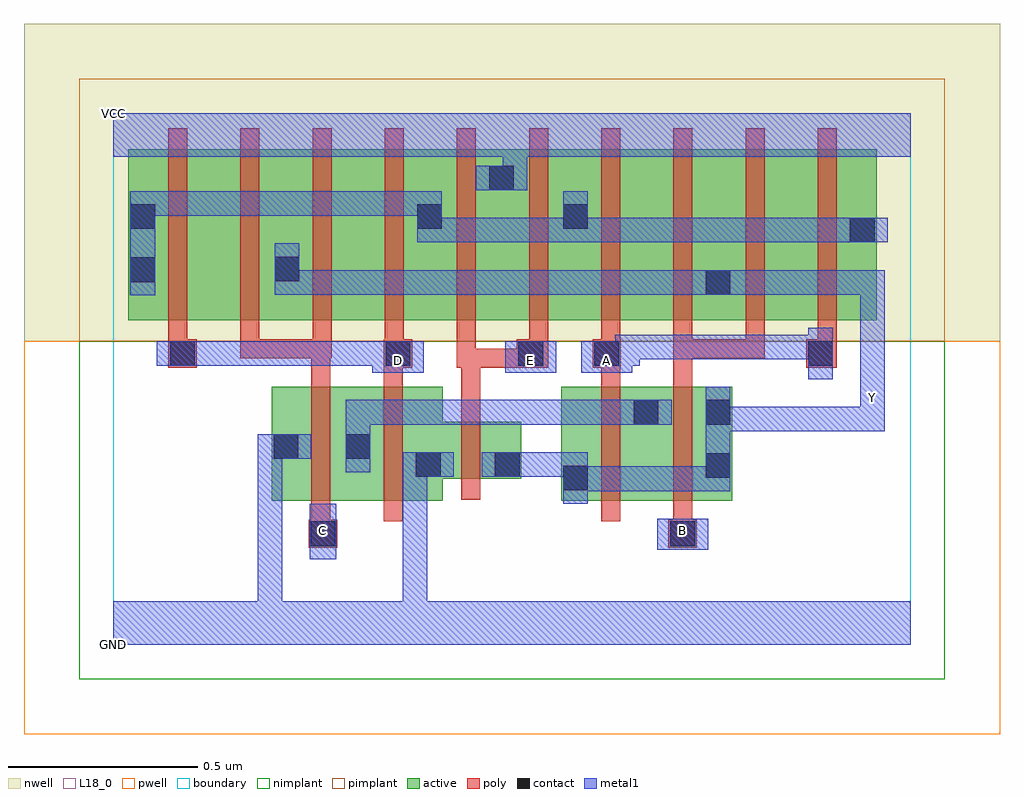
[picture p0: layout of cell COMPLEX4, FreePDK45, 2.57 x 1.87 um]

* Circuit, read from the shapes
.subckt COMPLEX4 A B C D E GND VCC Y
M1 n1 C GND VSUBS nfet w=0.3u l=0.05u
M2 GND D n1 VSUBS nfet w=0.3u l=0.05u
M3 Y E GND VSUBS nfet w=0.15u l=0.05u
M4 n1 A Y VSUBS nfet w=0.3u l=0.05u
M5 Y B n1 VSUBS nfet w=0.3u l=0.05u
M6 n2 D n3 n4 pfet w=0.45u l=0.05u
M7 Y C n2 n4 pfet w=0.45u l=0.05u
M8 n5 C Y n4 pfet w=0.45u l=0.05u
M9 n3 D n5 n4 pfet w=0.45u l=0.05u
M10 VCC E n3 n4 pfet w=0.45u l=0.05u m=2
M11 n6 A n3 n4 pfet w=0.45u l=0.05u
M12 Y B n6 n4 pfet w=0.45u l=0.05u
M13 n7 B Y n4 pfet w=0.45u l=0.05u
M14 n3 A n7 n4 pfet w=0.45u l=0.05u
.ends

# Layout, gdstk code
import gdstk
lib = gdstk.Library(unit=1e-6, precision=1e-09)
def R(c, l, rs):  # rectangles x0, y0, x1, y1
    for r in rs: c.add(gdstk.rectangle(r[:2], r[2:], *l))
def A(c, l, x, y, w, h, nx, ny, dx, dy):  # array of equal rectangles
    R(c, l, [(x+i*dx, y+j*dy, x+i*dx+w, y+j*dy+h) for i in range(nx) for j in range(ny)])
active = (1, 0)
pwell = (2, 0)
nwell = (3, 0)
nimplant = (4, 0)
pimplant = (5, 0)
poly = (9, 0)
contact = (10, 0)
metal1 = (11, 0)
L18_0 = (18, 0)
boundary = (235, 0)

complex4 = lib.new_cell('COMPLEX4')
R(complex4, active, [(0.417,0.38,0.682,0.68), (0.417,0.38,0.492,0.68), (0.607,0.38,0.867,0.68), (0.792,0.38,0.867,0.547), (1.18,0.38,1.44,0.68), (1.365,0.38,1.63,0.68), (1.18,0.382,1.255,0.547), (0.607,0.407,0.682,0.68), (1.555,0.407,1.63,0.68), (0.792,0.437,1.075,0.587), (1,0.437,1.075,0.547), (1.365,0.445,1.44,0.65), (0.04,0.855,0.265,1.305), (0.04,0.855,0.145,1.2), (0.265,0.855,0.495,1.305), (0.42,0.855,0.645,1.305), (0.645,0.855,0.87,1.305), (0.795,0.855,1.06,1.305), (0.985,0.855,1.255,1.305), (1.18,0.855,1.405,1.305), (1.405,0.855,1.63,1.305), (1.555,0.855,1.785,1.305), (1.785,0.855,2.01,1.305), (1.935,0.855,2.01,1.2), (0.42,0.857,0.495,1.07), (0.795,0.857,0.87,1.2), (0.985,0.857,1.06,1.305), (1.18,0.857,1.255,1.2), (1.555,0.857,1.63,1.07)])
R(complex4, pwell, [(-0.235,-0.235,2.335,0.8)])
R(complex4, nwell, [(-0.235,0.8,2.335,1.635)])
R(complex4, nimplant, [(-0.09,-0.09,2.19,0.8)])
R(complex4, pimplant, [(-0.09,0.8,2.19,1.49)])
A(complex4, poly, 0.145, 0.755, 0.05, 0.095, 4, 1, 0.19, 0)
A(complex4, poly, 1.095, 0.755, 0.05, 0.095, 5, 1, 0.19, 0)
A(complex4, poly, 0.145, 0.8, 0.05, 0.56, 10, 1, 0.19, 0)
R(complex4, poly, [(0.515,0.255,0.59,0.33), (1.462,0.255,1.537,0.33), (0.522,0.28,0.572,0.375), (1.475,0.28,1.525,0.375), (0.522,0.325,0.572,0.735), (0.712,0.325,0.762,0.735), (1.285,0.325,1.335,0.735), (1.475,0.325,1.525,0.735), (0.917,0.382,0.967,0.642), (0.917,0.592,0.967,0.78), (0.522,0.685,0.572,0.805), (0.712,0.685,0.762,0.78), (1.285,0.685,1.335,0.78), (1.475,0.685,1.525,0.805), (0.145,0.73,0.22,0.805), (0.712,0.73,0.787,0.805), (0.905,0.73,0.955,0.85), (0.905,0.73,0.967,0.78), (0.917,0.73,0.967,0.78), (0.917,0.73,0.967,0.78), (0.917,0.73,1.112,0.78), (1.062,0.73,1.145,0.805), (1.262,0.73,1.337,0.805), (1.825,0.73,1.905,0.805), (0.335,0.755,0.385,0.805), (0.335,0.755,0.572,0.805), (0.522,0.755,0.572,0.805), (0.522,0.755,0.572,0.805), (0.522,0.755,0.575,0.805), (1.475,0.755,1.715,0.805), (1.475,0.755,1.525,0.805), (1.475,0.755,1.525,0.805), (1.475,0.755,1.525,0.805), (1.665,0.755,1.715,0.805)])
R(complex4, contact, [(0.52,0.26,0.585,0.325), (1.467,0.26,1.532,0.325), (1.185,0.407,1.25,0.472), (1.56,0.44,1.625,0.505), (0.797,0.442,0.862,0.507), (1.005,0.442,1.07,0.507), (0.422,0.49,0.487,0.555), (0.612,0.49,0.677,0.555), (1.37,0.58,1.435,0.645), (1.56,0.58,1.625,0.645), (0.15,0.735,0.215,0.8), (0.717,0.735,0.782,0.8), (1.067,0.735,1.132,0.8), (1.267,0.735,1.332,0.8), (1.83,0.735,1.895,0.8), (1.56,0.922,1.625,0.987), (0.045,0.955,0.11,1.02), (0.425,0.957,0.49,1.022), (1.94,1.06,2.005,1.125), (0.045,1.095,0.11,1.16), (0.8,1.095,0.865,1.16), (1.185,1.095,1.25,1.16), (0.99,1.197,1.055,1.262)])
R(complex4, metal1, [(0,0,2.1,0.115), (0.38,0.05,0.445,0.555), (0.762,0.05,0.827,0.115), (0.762,0.05,0.827,0.115), (0.762,0.05,0.827,0.115), (0.762,0.05,0.827,0.115), (0.762,0.05,0.827,0.115), (0.762,0.05,0.827,0.115), (0.762,0.05,0.827,0.507), (0.517,0.225,0.587,0.372), (1.432,0.25,1.567,0.332), (1.185,0.372,1.25,0.507), (1.185,0.405,1.25,0.47), (1.185,0.405,1.25,0.47), (1.185,0.405,1.387,0.47), (1.322,0.405,1.387,0.47), (1.322,0.405,1.62,0.47), (1.555,0.405,1.62,0.47), (1.555,0.405,1.62,0.47), (1.555,0.405,1.625,0.47), (1.56,0.405,1.625,0.47), (1.56,0.405,1.625,0.68), (0.762,0.442,0.897,0.507), (0.97,0.442,1.105,0.507), (1.04,0.442,1.105,0.507), (1.04,0.442,1.105,0.507), (1.04,0.442,1.25,0.507), (0.612,0.455,0.677,0.59), (0.38,0.49,0.445,0.555), (0.38,0.49,0.445,0.555), (0.38,0.49,0.445,0.555), (0.38,0.49,0.445,0.555), (0.38,0.49,0.445,0.555), (0.38,0.49,0.445,0.555), (0.38,0.49,0.522,0.555), (0.612,0.525,0.677,0.59), (0.612,0.525,0.677,0.645), (1.56,0.562,1.757,0.627), (1.692,0.562,1.757,0.627), (1.692,0.562,1.832,0.627), (1.767,0.562,1.832,0.627), (1.767,0.562,2.032,0.627), (1.967,0.562,2.032,0.627), (1.967,0.562,2.032,0.627), (1.967,0.562,2.032,0.627), (1.967,0.562,2.032,0.647), (0.612,0.58,0.865,0.645), (0.8,0.58,0.865,0.645), (0.8,0.58,0.865,0.645), (0.8,0.58,0.865,0.645), (0.8,0.58,1.002,0.645), (0.937,0.58,1.002,0.645), (0.937,0.58,1.002,0.645), (0.937,0.58,1.002,0.645), (0.937,0.58,1.242,0.645), (1.177,0.58,1.242,0.645), (1.177,0.58,1.242,0.645), (1.177,0.58,1.242,0.645), (1.177,0.58,1.4,0.645), (1.335,0.58,1.47,0.645), (1.967,0.582,2.032,0.717), (1.967,0.652,2.032,0.987), (1.83,0.7,1.895,0.835), (0.682,0.717,0.817,0.8), (1.032,0.717,1.167,0.8), (1.232,0.717,1.367,0.8), (0.115,0.735,0.25,0.8), (0.185,0.735,0.25,0.8), (0.185,0.735,0.25,0.8), (0.185,0.735,0.387,0.8), (0.322,0.735,0.387,0.8), (0.322,0.735,0.387,0.8), (0.322,0.735,0.387,0.8), (0.322,0.735,0.54,0.8), (0.475,0.735,0.54,0.8), (0.475,0.735,0.69,0.8), (0.625,0.735,0.69,0.8), (0.625,0.735,0.747,0.8), (1.302,0.735,1.387,0.8), (1.322,0.735,1.387,0.817), (1.322,0.752,1.525,0.817), (1.46,0.752,1.525,0.817), (1.46,0.752,1.525,0.817), (1.46,0.752,1.525,0.817), (1.46,0.752,1.757,0.817), (1.692,0.752,1.757,0.817), (1.692,0.752,1.832,0.817), (1.767,0.752,1.832,0.817), (1.767,0.752,1.895,0.817), (0.045,0.92,0.11,1.195), (0.425,0.922,0.49,1.057), (0.425,0.922,0.525,0.987), (0.46,0.922,0.525,0.987), (0.46,0.922,0.69,0.987), (0.625,0.922,0.69,0.987), (0.625,0.922,0.69,0.987), (0.625,0.922,0.69,0.987), (0.625,0.922,0.865,0.987), (0.8,0.922,0.865,0.987), (0.8,0.922,0.865,0.987), (0.8,0.922,0.865,0.987), (0.8,0.922,1.002,0.987), (0.937,0.922,1.002,0.987), (0.937,0.922,1.002,0.987), (0.937,0.922,1.002,0.987), (0.937,0.922,1.25,0.987), (1.185,0.922,1.25,0.987), (1.185,0.922,1.25,0.987), (1.185,0.922,1.25,0.987), (1.185,0.922,1.387,0.987), (1.322,0.922,1.387,0.987), (1.322,0.922,1.59,0.987), (1.525,0.922,1.59,0.987), (1.525,0.922,1.59,0.987), (1.525,0.922,1.66,0.987), (1.595,0.922,1.757,0.987), (1.692,0.922,1.757,0.987), (1.692,0.922,1.832,0.987), (1.767,0.922,1.832,0.987), (1.767,0.922,2.032,0.987), (1.967,0.922,2.032,0.987), (1.967,0.922,2.032,0.987), (1.967,0.922,2.032,0.987), (0.8,1.06,0.865,1.125), (0.8,1.06,0.865,1.125), (0.8,1.06,0.865,1.195), (0.8,1.06,1.105,1.125), (1.04,1.06,1.105,1.125), (1.04,1.06,1.105,1.125), (1.04,1.06,1.105,1.125), (1.04,1.06,1.25,1.125), (1.185,1.06,1.25,1.125), (1.185,1.06,1.25,1.125), (1.185,1.06,1.25,1.195), (1.185,1.06,1.387,1.125), (1.322,1.06,1.387,1.125), (1.322,1.06,1.62,1.125), (1.555,1.06,1.62,1.125), (1.555,1.06,1.62,1.125), (1.555,1.06,1.62,1.125), (1.555,1.06,1.757,1.125), (1.692,1.06,1.757,1.125), (1.692,1.06,1.797,1.125), (1.732,1.06,1.797,1.125), (1.732,1.06,1.97,1.125), (1.905,1.06,1.97,1.125), (1.905,1.06,1.97,1.125), (1.905,1.06,2.04,1.125), (0.045,1.13,0.11,1.195), (0.045,1.13,0.11,1.195), (0.045,1.13,0.25,1.195), (0.185,1.13,0.25,1.195), (0.185,1.13,0.25,1.195), (0.185,1.13,0.25,1.195), (0.185,1.13,0.387,1.195), (0.322,1.13,0.387,1.195), (0.322,1.13,0.387,1.195), (0.322,1.13,0.387,1.195), (0.322,1.13,0.54,1.195), (0.475,1.13,0.54,1.195), (0.475,1.13,0.69,1.195), (0.625,1.13,0.69,1.195), (0.625,1.13,0.69,1.195), (0.625,1.13,0.69,1.195), (0.625,1.13,0.865,1.195), (0.955,1.197,1.09,1.262), (1.025,1.197,1.09,1.35), (0,1.285,2.1,1.4)])
R(complex4, L18_0, [(0,0,2.1,0.115), (0.38,0.05,0.445,0.555), (0.762,0.05,0.827,0.115), (0.762,0.05,0.827,0.115), (0.762,0.05,0.827,0.115), (0.762,0.05,0.827,0.115), (0.762,0.05,0.827,0.115), (0.762,0.05,0.827,0.115), (0.762,0.05,0.827,0.507), (0.517,0.225,0.587,0.372), (1.432,0.25,1.567,0.332), (0.517,0.267,0.582,0.332), (1.467,0.267,1.532,0.332), (1.185,0.372,1.25,0.507), (1.185,0.405,1.25,0.47), (1.185,0.405,1.25,0.47), (1.185,0.405,1.387,0.47), (1.322,0.405,1.387,0.47), (1.322,0.405,1.62,0.47), (1.555,0.405,1.62,0.47), (1.555,0.405,1.62,0.47), (1.555,0.405,1.625,0.47), (1.56,0.405,1.625,0.47), (1.56,0.405,1.625,0.68), (0.762,0.442,0.897,0.507), (0.97,0.442,1.105,0.507), (1.04,0.442,1.105,0.507), (1.04,0.442,1.105,0.507), (1.04,0.442,1.25,0.507), (0.38,0.49,0.445,0.555), (0.38,0.49,0.445,0.555), (0.38,0.49,0.445,0.555), (0.38,0.49,0.445,0.555), (0.38,0.49,0.445,0.555), (0.38,0.49,0.445,0.555), (0.38,0.49,0.522,0.555), (1.56,0.562,1.757,0.627), (1.692,0.562,1.757,0.627), (1.692,0.562,1.832,0.627), (1.767,0.562,1.832,0.627), (1.767,0.562,2.032,0.627), (1.967,0.562,2.032,0.627), (1.967,0.562,2.032,0.627), (1.967,0.562,2.032,0.627), (1.967,0.562,2.032,0.647), (1.967,0.582,2.032,0.717), (1.967,0.617,2.032,0.682), (1.967,0.652,2.032,0.987), (1.83,0.7,1.895,0.835), (0.682,0.717,0.817,0.8), (0.717,0.717,0.782,0.782), (1.032,0.717,1.167,0.8), (1.067,0.717,1.132,0.782), (1.232,0.717,1.367,0.8), (1.267,0.717,1.332,0.782), (0.115,0.735,0.25,0.8), (0.185,0.735,0.25,0.8), (0.185,0.735,0.25,0.8), (0.185,0.735,0.387,0.8), (0.322,0.735,0.387,0.8), (0.322,0.735,0.387,0.8), (0.322,0.735,0.387,0.8), (0.322,0.735,0.54,0.8), (0.475,0.735,0.54,0.8), (0.475,0.735,0.69,0.8), (0.625,0.735,0.69,0.8), (0.625,0.735,0.747,0.8), (1.302,0.735,1.387,0.8), (1.322,0.735,1.387,0.817), (1.322,0.752,1.525,0.817), (1.46,0.752,1.525,0.817), (1.46,0.752,1.525,0.817), (1.46,0.752,1.525,0.817), (1.46,0.752,1.757,0.817), (1.692,0.752,1.757,0.817), (1.692,0.752,1.832,0.817), (1.767,0.752,1.832,0.817), (1.767,0.752,1.895,0.817), (0.425,0.922,0.49,1.057), (0.425,0.922,0.525,0.987), (0.46,0.922,0.525,0.987), (0.46,0.922,0.69,0.987), (0.625,0.922,0.69,0.987), (0.625,0.922,0.69,0.987), (0.625,0.922,0.69,0.987), (0.625,0.922,0.865,0.987), (0.8,0.922,0.865,0.987), (0.8,0.922,0.865,0.987), (0.8,0.922,0.865,0.987), (0.8,0.922,1.002,0.987), (0.937,0.922,1.002,0.987), (0.937,0.922,1.002,0.987), (0.937,0.922,1.002,0.987), (0.937,0.922,1.25,0.987), (1.185,0.922,1.25,0.987), (1.185,0.922,1.25,0.987), (1.185,0.922,1.25,0.987), (1.185,0.922,1.387,0.987), (1.322,0.922,1.387,0.987), (1.322,0.922,1.59,0.987), (1.525,0.922,1.66,0.987), (1.525,0.922,1.59,0.987), (1.525,0.922,1.59,0.987), (1.595,0.922,1.757,0.987), (1.692,0.922,1.757,0.987), (1.692,0.922,1.832,0.987), (1.767,0.922,1.832,0.987), (1.767,0.922,2.032,0.987), (1.967,0.922,2.032,0.987), (1.967,0.922,2.032,0.987), (1.967,0.922,2.032,0.987), (0.955,1.197,1.09,1.262), (1.025,1.197,1.09,1.35), (0,1.285,2.1,1.4)])
R(complex4, boundary, [(0,0,2.1,1.4)])
complex4.add(gdstk.Label('A', (1.3,0.75), layer=11, texttype=0))
complex4.add(gdstk.Label('B', (1.5,0.3), layer=11, texttype=0))
complex4.add(gdstk.Label('C', (0.55,0.3), layer=11, texttype=0))
complex4.add(gdstk.Label('D', (0.75,0.75), layer=11, texttype=0))
complex4.add(gdstk.Label('E', (1.1,0.75), layer=11, texttype=0))
complex4.add(gdstk.Label('Y', (2,0.65), layer=11, texttype=0))
complex4.add(gdstk.Label('VCC', (0,1.4), layer=11, texttype=0))
complex4.add(gdstk.Label('GND', (0,0), layer=11, texttype=0))

lib.write_gds('COMPLEX4.gds')
